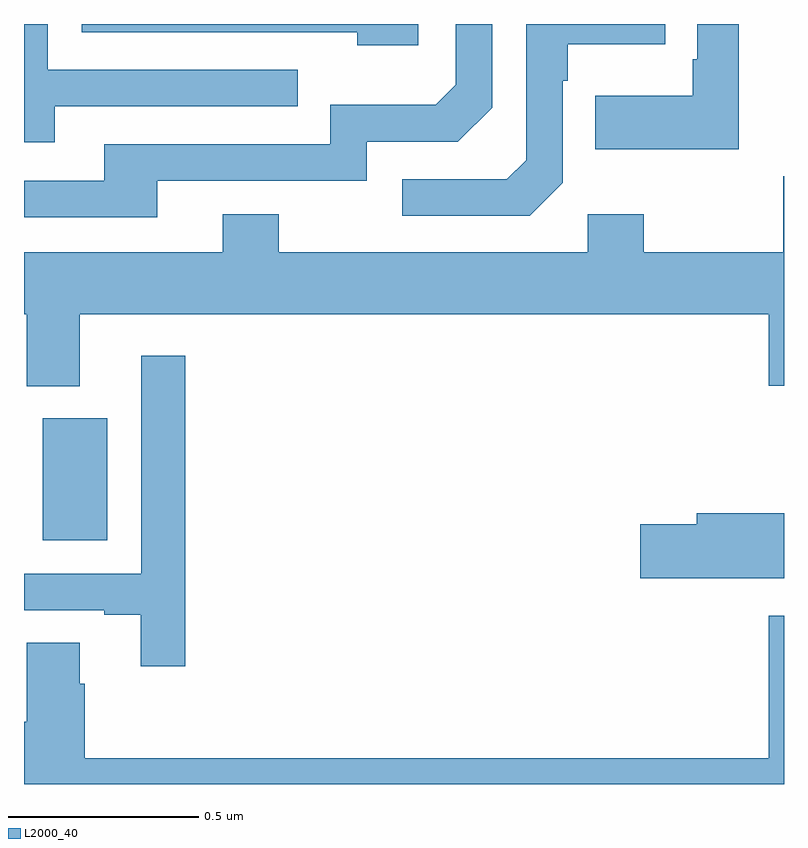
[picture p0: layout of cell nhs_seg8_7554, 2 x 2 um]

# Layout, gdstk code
import gdstk
lib = gdstk.Library(unit=1e-6, precision=1e-09)
def R(c, l, rs):  # rectangles x0, y0, x1, y1
    for r in rs: c.add(gdstk.rectangle(r[:2], r[2:], *l))
def P(c, l, *ps):  # polygons
    for p in ps: c.add(gdstk.Polygon(p, *l))
L2000_40 = (2000, 40)

nhs_seg8_7554 = lib.new_cell('nhs_seg8_7554')
R(nhs_seg8_7554, L2000_40, [(211.049,1146.542,211.219,1146.862)])
P(nhs_seg8_7554, L2000_40, [(212.881,1147.9),(212.772,1147.9),(212.772,1147.807),(212.76,1147.807),(212.76,1147.711),(212.503,1147.711),(212.503,1147.571),(212.881,1147.571)],
  [(211.081,1147.683),(211.721,1147.683),(211.721,1147.779),(211.062,1147.779),(211.062,1147.9),(211,1147.9),(211,1147.589),(211.081,1147.589)],
  [(211.351,1147.488),(211.902,1147.488),(211.902,1147.59),(212.142,1147.59),(212.232,1147.68),(212.232,1147.9),(212.136,1147.9),(212.136,1147.74),(212.083,1147.687),(211.806,1147.687),(211.806,1147.584),(211.211,1147.584),(211.211,1147.488),(211,1147.488),(211,1147.392),(211.351,1147.392)],
  [(212.038,1147.9),(211.152,1147.9),(211.152,1147.878),(211.877,1147.878),(211.877,1147.844),(212.038,1147.844)],
  [(212.418,1147.482),(212.418,1147.751),(212.431,1147.751),(212.431,1147.847),(212.687,1147.847),(212.687,1147.9),(212.322,1147.9),(212.322,1147.542),(212.271,1147.491),(211.995,1147.491),(211.995,1147.395),(212.331,1147.395)],
  [(211.147,1147.136),(212.96,1147.136),(212.96,1146.948),(213,1146.948),(213,1147.499),(212.998,1147.499),(212.998,1147.3),(212.631,1147.3),(212.631,1147.399),(212.484,1147.399),(212.484,1147.3),(211.671,1147.3),(211.671,1147.399),(211.523,1147.399),(211.523,1147.3),(211,1147.3),(211,1147.136),(211.007,1147.136),(211.007,1146.947),(211.147,1146.947)],
  [(211.424,1147.027),(211.308,1147.027),(211.308,1146.453),(211,1146.453),(211,1146.357),(211.211,1146.357),(211.211,1146.345),(211.307,1146.345),(211.307,1146.21),(211.424,1146.21)],
  [(213,1146.613),(212.771,1146.613),(212.771,1146.584),(212.622,1146.584),(212.622,1146.442),(213,1146.442)],
  [(213,1146.343),(212.96,1146.343),(212.96,1145.968),(211.16,1145.968),(211.16,1146.164),(211.147,1146.164),(211.147,1146.272),(211.007,1146.272),(211.007,1146.064),(211,1146.064),(211,1145.9),(213,1145.9)])

lib.write_gds('nhs_seg8_7554.gds')
